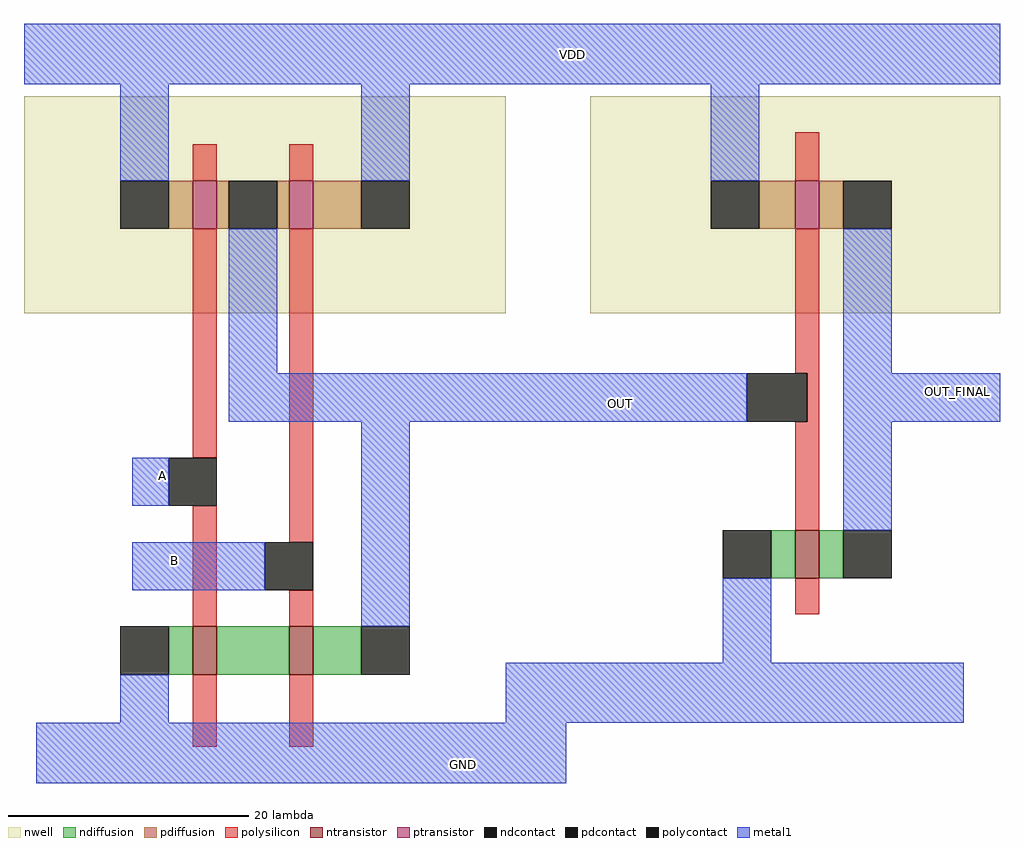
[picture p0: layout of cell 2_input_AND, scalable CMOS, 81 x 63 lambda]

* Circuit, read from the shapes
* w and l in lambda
.subckt 2_input_AND A B GND OUT OUT_FINAL VDD
M1 n1 A GND VSUBS nfet w=4 l=2
M2 OUT B n1 VSUBS nfet w=4 l=2
M3 OUT_FINAL OUT GND VSUBS nfet w=4 l=2
M4 OUT A VDD n2 pfet w=4 l=2
M5 VDD B OUT n2 pfet w=4 l=2
M6 OUT_FINAL OUT VDD n3 pfet w=4 l=2
.ends

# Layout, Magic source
magic
tech scmos
<< nwell >>
rect -12 9 28 27
rect 35 9 69 27
<< ntransistor >>
rect 52 -13 54 -9
rect 2 -21 4 -17
rect 10 -21 12 -17
<< ptransistor >>
rect 2 16 4 20
rect 10 16 12 20
rect 52 16 54 20
<< ndiffusion >>
rect 50 -13 52 -9
rect 54 -13 56 -9
rect 0 -21 2 -17
rect 4 -21 10 -17
rect 12 -21 16 -17
<< pdiffusion >>
rect 0 16 2 20
rect 4 16 5 20
rect 9 16 10 20
rect 12 16 16 20
rect 49 16 52 20
rect 54 16 56 20
<< ndcontact >>
rect 46 -13 50 -9
rect 56 -13 60 -9
rect -4 -21 0 -17
rect 16 -21 20 -17
<< pdcontact >>
rect -4 16 0 20
rect 5 16 9 20
rect 16 16 20 20
rect 45 16 49 20
rect 56 16 60 20
<< polysilicon >>
rect 2 20 4 23
rect 10 20 12 23
rect 52 20 54 24
rect 2 -3 4 16
rect 2 -17 4 -7
rect 10 -10 12 16
rect 52 4 54 16
rect 53 0 54 4
rect 52 -9 54 0
rect 10 -17 12 -14
rect 52 -16 54 -13
rect 2 -27 4 -21
rect 10 -27 12 -21
<< polycontact >>
rect 0 -7 4 -3
rect 48 0 53 4
rect 8 -14 12 -10
<< metal1 >>
rect -12 28 69 33
rect -4 20 0 28
rect 16 20 20 28
rect 45 20 49 28
rect 5 4 9 16
rect 56 4 60 16
rect 5 0 48 4
rect 56 0 69 4
rect -3 -7 0 -3
rect -3 -14 8 -10
rect 16 -17 20 0
rect 56 -9 60 0
rect 46 -20 50 -13
rect -4 -25 0 -21
rect 28 -25 66 -20
rect -11 -30 33 -25
<< labels >>
rlabel metal1 33 30 34 31 5 VDD
rlabel metal1 -1 -5 0 -4 1 A
rlabel metal1 0 -12 1 -11 1 B
rlabel metal1 37 1 38 2 1 OUT
rlabel metal1 65 2 66 3 7 OUT_FINAL
rlabel metal1 24 -29 25 -28 1 GND
<< end >>
